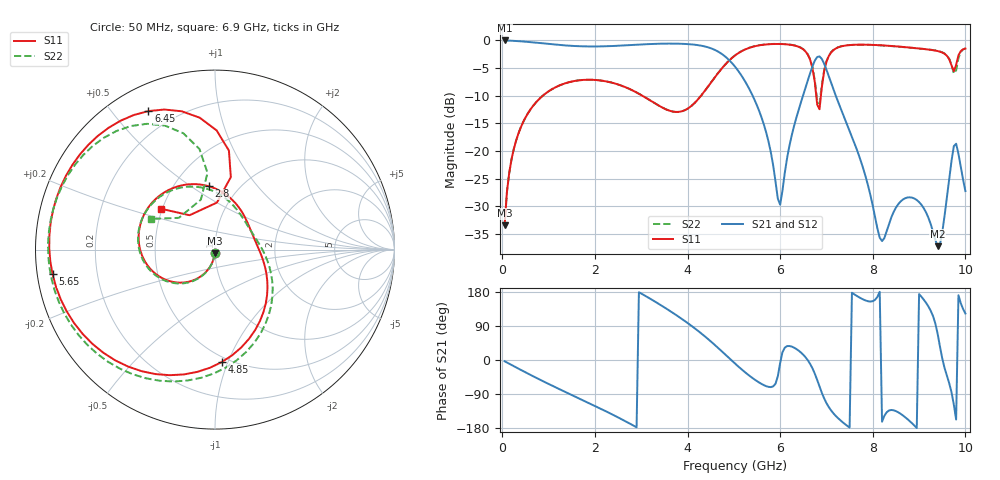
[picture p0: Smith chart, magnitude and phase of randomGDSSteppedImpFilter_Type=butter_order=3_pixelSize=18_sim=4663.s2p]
! freq	dB(S11)	phase(S11)	dB(S12)	phase(S12)
!  dB(S21)	phase(S21)	dB(S22)	phase(S22)
!S-par simulation data
#  GHz  S  DB  R 50
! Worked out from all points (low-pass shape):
!   200 points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, 50 MHz to 10 GHz, reference 50 ohm
!   highest |S21| = 0.00 dB at 50 MHz (marker M1); lowest = -37.3 dB at 9.4 GHz (marker M2)
!   |S21| within 3 dB of the highest: start of sweep to 4.825 GHz; 6.799 GHz to 6.862 GHz (62.87 MHz wide, 0.92 % of centre)
!   lowest |S11| = -33.5 dB at 50 MHz (marker M3), VSWR 1.04, Z = 49.8 - j2.11 ohm
!   |S11| at or under -10 dB: start of sweep to 876.7 MHz; 3.023 GHz to 4.292 GHz (1.27 GHz wide, 34.7 % of centre); 6.779 GHz to 6.881 GHz (101.4 MHz wide, 1.48 % of centre)
!   |S22| runs from -33.5 to -0.6 dB; largest |S21 - S12| = 0
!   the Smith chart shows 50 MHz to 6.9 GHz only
!   S11 on the Smith chart (normalised r, x): 50 MHz: 1.00, -0.04; 2.8 GHz: 0.73, +0.59; 4.85 GHz: 0.46, -0.95; 5.65 GHz: 0.04, -0.07; 6.45 GHz: 0.11, +0.62; 6.9 GHz: 0.49, +0.26
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0.05  -33.45 -93.4  -0.00 -3.3  -0.00 -3.3  -33.45 -93.3
0.2  -21.50 -103.6  -0.06 -13.2  -0.06 -13.2  -21.50 -103.3
0.5  -13.97 -123.5  -0.23 -32.5  -0.23 -32.5  -13.97 -122.6
1.75  -7.15 161.0  -1.07 -106.7  -1.07 -106.7  -7.15 164.7
2.8  -9.00 95.7  -0.82 -170.9  -0.82 -170.9  -9.00 102.7
3.4  -11.90 52.3  -0.60 146.5  -0.60 146.5  -11.90 61.6
4.15  -11.35 -11.2  -0.77 84.2  -0.77 84.2  -11.35 -2.7
4.85  -4.05 -86.5  -3.18 10.3  -3.18 10.3  -4.03 -78.9
5.05  -2.57 -109.8  -5.01 -12.1  -5.01 -12.1  -2.56 -101.8
5.65  -0.77 -171.5  -15.27 -66.5  -15.27 -66.5  -0.75 -161.4
6  -0.65 157.9  -29.74 -7.8  -29.74 -7.8  -0.63 169.5
6.45  -1.35 115.7  -11.17 19.6  -11.17 19.6  -1.32 129.8
6.7  -5.09 82.0  -4.64 -22.6  -4.64 -22.6  -4.93 98.8
6.9  -8.46 142.9  -3.35 -86.6  -3.35 -86.6  -8.07 154.4
7.1  -2.17 118.3  -7.68 -133.0  -7.68 -133.0  -2.14 132.9
7.45  -0.88 78.9  -15.30 -173.9  -15.30 -173.9  -0.88 95.5
8.15  -0.86 11.4  -35.72 180.0  -35.72 180.0  -0.88 29.0
8.35  -0.97 -9.1  -33.22 -133.2  -33.22 -133.2  -0.99 8.0
8.9  -1.37 -69.1  -28.63 -173.1  -28.63 -173.1  -1.39 -54.3
9.4  -1.92 -125.6  -37.25 69.7  -37.25 69.7  -1.90 -111.8
9.75  -5.60 -152.6  -19.15 -117.7  -19.15 -117.7  -5.99 -141.6
10  -1.47 -169.7  -27.28 122.6  -27.28 122.6  -1.44 -150.2
